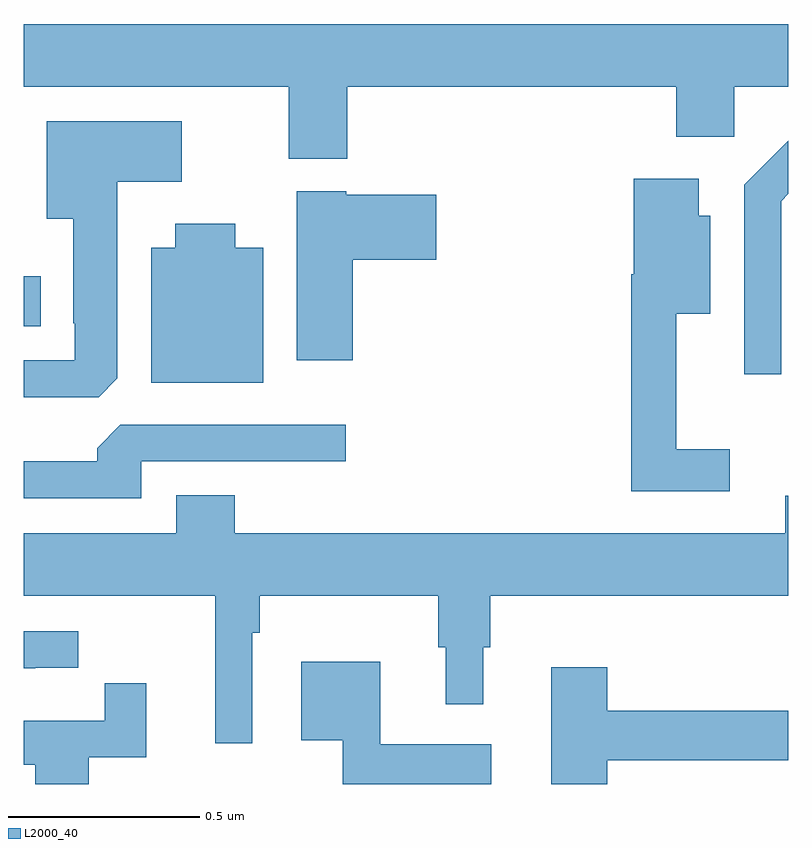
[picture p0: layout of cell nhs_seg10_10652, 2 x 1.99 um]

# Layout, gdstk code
import gdstk
lib = gdstk.Library(unit=1e-6, precision=1e-09)
def R(c, l, rs):  # rectangles x0, y0, x1, y1
    for r in rs: c.add(gdstk.rectangle(r[:2], r[2:], *l))
def P(c, l, *ps):  # polygons
    for p in ps: c.add(gdstk.Polygon(p, *l))
L2000_40 = (2000, 40)

nhs_seg10_10652 = lib.new_cell('nhs_seg10_10652')
R(nhs_seg10_10652, L2000_40, [(245,1291.697,245.044,1291.828)])
P(nhs_seg10_10652, L2000_40, [(245.846,1292.324),(246.707,1292.324),(246.707,1292.193),(246.858,1292.193),(246.858,1292.324),(247,1292.324),(247,1292.488),(245,1292.488),(245,1292.324),(245.693,1292.324),(245.693,1292.135),(245.846,1292.135)],
  [(245.245,1291.561),(245.245,1292.075),(245.413,1292.075),(245.413,1292.233),(245.06,1292.233),(245.06,1291.979),(245.129,1291.979),(245.129,1291.705),(245.133,1291.705),(245.133,1291.608),(245,1291.608),(245,1291.512),(245.196,1291.512)],
  [(246.981,1292.025),(247,1292.044),(247,1292.182),(246.885,1292.067),(246.885,1291.572),(246.981,1291.572)],
  [(246.847,1291.375),(246.707,1291.375),(246.707,1291.73),(246.796,1291.73),(246.796,1291.987),(246.766,1291.987),(246.766,1292.083),(246.596,1292.083),(246.596,1291.834),(246.589,1291.834),(246.589,1291.266),(246.847,1291.266)],
  [(245.861,1291.871),(246.079,1291.871),(246.079,1292.041),(245.844,1292.041),(245.844,1292.05),(245.714,1292.05),(245.714,1291.608),(245.861,1291.608)],
  [(245.626,1291.903),(245.554,1291.903),(245.554,1291.966),(245.396,1291.966),(245.396,1291.903),(245.333,1291.903),(245.333,1291.55),(245.626,1291.55)],
  [(245.307,1291.344),(245.842,1291.344),(245.842,1291.44),(245.253,1291.44),(245.192,1291.378),(245.192,1291.344),(245,1291.344),(245,1291.248),(245.307,1291.248)],
  [(245.598,1290.896),(245.618,1290.896),(245.618,1290.992),(246.085,1290.992),(246.085,1290.858),(246.104,1290.858),(246.104,1290.708),(246.202,1290.708),(246.202,1290.858),(246.221,1290.858),(246.221,1290.992),(247,1290.992),(247,1291.254),(246.992,1291.254),(246.992,1291.156),(245.552,1291.156),(245.552,1291.255),(245.399,1291.255),(245.399,1291.156),(245,1291.156),(245,1290.992),(245.501,1290.992),(245.501,1290.606),(245.598,1290.606)],
  [(245.03,1290.804),(245.143,1290.804),(245.143,1290.9),(245,1290.9),(245,1290.803),(245.03,1290.803)],
  [(246.223,1290.604),(245.932,1290.604),(245.932,1290.82),(245.726,1290.82),(245.726,1290.614),(245.835,1290.614),(245.835,1290.5),(246.223,1290.5)],
  [(246.527,1290.562),(247,1290.562),(247,1290.691),(246.527,1290.691),(246.527,1290.805),(246.38,1290.805),(246.38,1290.5),(246.527,1290.5)],
  [(245.17,1290.57),(245.321,1290.57),(245.321,1290.763),(245.212,1290.763),(245.212,1290.666),(245,1290.666),(245,1290.55),(245.03,1290.55),(245.03,1290.5),(245.17,1290.5)])

lib.write_gds('nhs_seg10_10652.gds')
